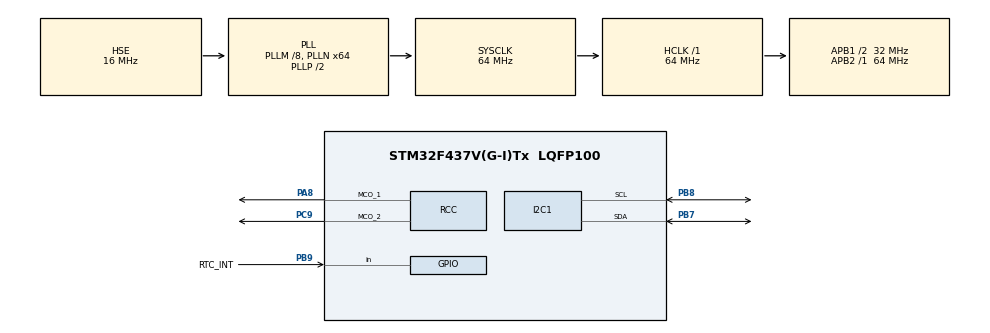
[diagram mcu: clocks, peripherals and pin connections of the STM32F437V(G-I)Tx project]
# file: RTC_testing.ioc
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Mcu.Family=STM32F4
Mcu.Name=STM32F437V(G-I)Tx
Mcu.Package=LQFP100
NVIC.I2C1_ER_IRQn=true\:0\:0\:false\:false\:true\:true\:true\:true
NVIC.I2C1_EV_IRQn=true\:0\:0\:false\:false\:true\:true\:true\:true
NVIC.PriorityGroup=NVIC_PRIORITYGROUP_4
PA13.Mode=Trace_Asynchronous_SW
PA13.Signal=SYS_JTMS-SWDIO
PA14.Mode=Trace_Asynchronous_SW
PA14.Signal=SYS_JTCK-SWCLK
PA8.Mode=Clock-out-1
PA8.Signal=RCC_MCO_1
PB3.Mode=Trace_Asynchronous_SW
PB3.Signal=SYS_JTDO-SWO
PB7.Mode=I2C
PB7.GPIO_PuPd=GPIO_PULLUP
PB7.Signal=I2C1_SDA
PB8.Mode=I2C
PB8.GPIO_PuPd=GPIO_PULLUP
PB8.Signal=I2C1_SCL
PB9.GPIO_Label=RTC_INT
PB9.Signal=GPIO_Input
PC9.Mode=Clock-out-2
PC9.Signal=RCC_MCO_2
PH0/OSC_IN.Mode=HSE-External-Oscillator
PH0/OSC_IN.Signal=RCC_OSC_IN
PH1/OSC_OUT.Mode=HSE-External-Oscillator
PH1/OSC_OUT.Signal=RCC_OSC_OUT
ProjectManager.HeapSize=0x200
ProjectManager.StackSize=0x400
ProjectManager.TargetToolchain=STM32CubeIDE
RCC.48MHZClocksFreq_Value=32000000
RCC.AHBFreq_Value=64000000
RCC.APB1CLKDivider=RCC_HCLK_DIV2
RCC.APB1Freq_Value=32000000
RCC.APB1TimFreq_Value=64000000
RCC.APB2Freq_Value=64000000
RCC.APB2TimFreq_Value=64000000
RCC.CortexFreq_Value=64000000
RCC.EnbaleCSS=true
RCC.HCLKFreq_Value=64000000
RCC.HSE_VALUE=16000000
RCC.HSI_VALUE=16000000
RCC.LSE_VALUE=32768
RCC.PLLM=8
RCC.PLLN=64
RCC.PLLSourceVirtual=RCC_PLLSOURCE_HSE
RCC.RCC_MCO1Source=RCC_MCO1SOURCE_HSE
RCC.SYSCLKFreq_VALUE=64000000
RCC.SYSCLKSource=RCC_SYSCLKSOURCE_PLLCLK
RCC.VCOOutputFreq_Value=128000000
board=custom

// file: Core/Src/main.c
/* USER CODE BEGIN Header */
/**
  ******************************************************************************
  * @file           : main.c
  * @brief          : Main program body
  ******************************************************************************
  * @attention
  *
  * Copyright (c) 2026 STMicroelectronics.
  * All rights reserved.
  *
  * This software is licensed under terms that can be found in the LICENSE file
  * in the root directory of this software component.
  * If no LICENSE file comes with this software, it is provided AS-IS.
  *
  ******************************************************************************
  */
/* USER CODE END Header */
#include "main.h"

/* USER CODE BEGIN Includes */
#include <stdio.h>

/* USER CODE END Includes */

/* USER CODE BEGIN PTD */

typedef struct
{
  uint8_t connected;
  uint8_t rtc_mode;
  uint8_t oscillator_stop_flag;
  uint8_t counter_stopped;
  uint8_t hundredths;
  uint8_t seconds;
  uint8_t minutes;
  uint8_t hours;
  uint8_t day;
  uint8_t weekday;
  uint8_t month;
  uint16_t year;
  uint8_t raw_time[8];
  uint8_t raw_oscillator;
  uint8_t raw_function;
  uint8_t raw_stop_enable;
  uint8_t scl_level;
  uint8_t sda_level;
  uint16_t i2c_sr1;
  uint16_t i2c_sr2;
  uint32_t sample_count;
  uint32_t advance_count;
  uint32_t consecutive_failures;
  uint32_t recovery_count;
  uint32_t i2c_error;
  HAL_StatusTypeDef last_hal_status;
} RTC_TestResult;

/* USER CODE END PTD */

/* USER CODE BEGIN PD */

#define PCF85263A_I2C_ADDRESS       (0x51U << 1)
#define PCF85263A_REG_TIME          0x00U
#define PCF85263A_REG_OSCILLATOR    0x25U
#define PCF85263A_REG_FUNCTION      0x28U
#define PCF85263A_REG_STOP_ENABLE   0x2EU
#define PCF85263A_I2C_TIMEOUT_MS    100U
#define RTC_SWV_STATUS_PERIOD_MS    1000U
#define RTC_RECOVERY_FAILURE_COUNT  20U

/* USER CODE END PD */

I2C_HandleTypeDef hi2c1;

/* USER CODE BEGIN PV */

/* Add rtc_test to STM32CubeIDE Live Expressions while debugging. */
volatile RTC_TestResult rtc_test;
static uint32_t rtc_swv_last_print_ms;

/* USER CODE END PV */

void SystemClock_Config(void);
static void MX_GPIO_Init(void);
static void MX_I2C1_Init(void);
/* USER CODE BEGIN PFP */

static uint8_t RTC_BcdToBinary(uint8_t value);
static void RTC_RecordI2CState(HAL_StatusTypeDef status);
static void RTC_I2CRecoverBus(void);
static void RTC_TestUpdate(void);
static void RTC_SWVPrintStatus(void);
static void SWV_SendChar(char ch);

/* USER CODE END PFP */

/* USER CODE BEGIN 0 */

static void SWV_SendChar(char ch)
{
  uint32_t timeout;

  /* Never block the firmware when SWV/ITM is not enabled by the debugger. */
  if (((CoreDebug->DEMCR & CoreDebug_DEMCR_TRCENA_Msk) == 0U) ||
      ((ITM->TCR & ITM_TCR_ITMENA_Msk) == 0U) ||
      ((ITM->TER & 1UL) == 0U))
  {
    return;
  }

  timeout = 10000U;
  while ((ITM->PORT[0].u32 == 0UL) && (timeout > 0U))
  {
    timeout--;
  }

  if (timeout > 0U)
  {
    ITM->PORT[0].u8 = (uint8_t)ch;
  }
}

int _write(int file, char *ptr, int len)
{
  int index;

  (void)file;
  for (index = 0; index < len; index++)
  {
    SWV_SendChar(ptr[index]);
  }

  return len;
}

static uint8_t RTC_BcdToBinary(uint8_t value)
{
  return (uint8_t)(((value >> 4) * 10U) + (value & 0x0FU));
}

static void RTC_RecordI2CState(HAL_StatusTypeDef status)
{
  rtc_test.last_hal_status = status;
  rtc_test.i2c_error = HAL_I2C_GetError(&hi2c1);
  rtc_test.i2c_sr1 = (uint16_t)hi2c1.Instance->SR1;
  rtc_test.i2c_sr2 = (uint16_t)hi2c1.Instance->SR2;
  rtc_test.scl_level = (HAL_GPIO_ReadPin(GPIOB, GPIO_PIN_8) == GPIO_PIN_SET) ? 1U : 0U;
  rtc_test.sda_level = (HAL_GPIO_ReadPin(GPIOB, GPIO_PIN_7) == GPIO_PIN_SET) ? 1U : 0U;
}

static void RTC_I2CRecoverBus(void)
{
  GPIO_InitTypeDef GPIO_InitStruct = {0};
  uint32_t pulse;

  rtc_test.recovery_count++;
  (void)HAL_I2C_DeInit(&hi2c1);

  __HAL_RCC_GPIOB_CLK_ENABLE();
  HAL_GPIO_WritePin(GPIOB, GPIO_PIN_7 | GPIO_PIN_8, GPIO_PIN_SET);
  GPIO_InitStruct.Pin = GPIO_PIN_7 | GPIO_PIN_8;
  GPIO_InitStruct.Mode = GPIO_MODE_OUTPUT_OD;
  GPIO_InitStruct.Pull = GPIO_PULLUP;
  GPIO_InitStruct.Speed = GPIO_SPEED_FREQ_LOW;
  HAL_GPIO_Init(GPIOB, &GPIO_InitStruct);
  HAL_Delay(1U);

  /* Release a target that stopped part-way through a byte. */
  for (pulse = 0U; pulse < 9U; pulse++)
  {
    if (HAL_GPIO_ReadPin(GPIOB, GPIO_PIN_7) == GPIO_PIN_SET)
    {
      break;
    }
    HAL_GPIO_WritePin(GPIOB, GPIO_PIN_8, GPIO_PIN_RESET);
    HAL_Delay(1U);
    HAL_GPIO_WritePin(GPIOB, GPIO_PIN_8, GPIO_PIN_SET);
    HAL_Delay(1U);
  }

  /* Generate a manual STOP: SDA low, SCL high, then SDA high. */
  HAL_GPIO_WritePin(GPIOB, GPIO_PIN_7, GPIO_PIN_RESET);
  HAL_Delay(1U);
  HAL_GPIO_WritePin(GPIOB, GPIO_PIN_8, GPIO_PIN_SET);
  HAL_Delay(1U);
  HAL_GPIO_WritePin(GPIOB, GPIO_PIN_7, GPIO_PIN_SET);
  HAL_Delay(1U);

  MX_I2C1_Init();
  rtc_test.consecutive_failures = 0U;
  RTC_RecordI2CState(HAL_OK);
}

static void RTC_TestUpdate(void)
{
  uint8_t time_raw[8];
  uint8_t oscillator;
  uint8_t function;
  uint8_t stop_enable;
  uint16_t previous_time;
  uint16_t current_time;
  HAL_StatusTypeDef status;

  rtc_test.sample_count++;

  status = HAL_I2C_IsDeviceReady(&hi2c1, PCF85263A_I2C_ADDRESS, 2U,
                                 PCF85263A_I2C_TIMEOUT_MS);
  if (status != HAL_OK)
  {
    rtc_test.connected = 0U;
    rtc_test.consecutive_failures++;
    RTC_RecordI2CState(status);
    return;
  }

  status = HAL_I2C_Mem_Read(&hi2c1, PCF85263A_I2C_ADDRESS,
                            PCF85263A_REG_TIME, I2C_MEMADD_SIZE_8BIT,
                            time_raw, sizeof(time_raw),
                            PCF85263A_I2C_TIMEOUT_MS);
  if (status == HAL_OK)
  {
    status = HAL_I2C_Mem_Read(&hi2c1, PCF85263A_I2C_ADDRESS,
                              PCF85263A_REG_OSCILLATOR,
                              I2C_MEMADD_SIZE_8BIT, &oscillator, 1U,
                              PCF85263A_I2C_TIMEOUT_MS);
  }
  if (status == HAL_OK)
  {
    status = HAL_I2C_Mem_Read(&hi2c1, PCF85263A_I2C_ADDRESS,
                              PCF85263A_REG_FUNCTION,
                              I2C_MEMADD_SIZE_8BIT, &function, 1U,
                              PCF85263A_I2C_TIMEOUT_MS);
  }
  if (status == HAL_OK)
  {
    status = HAL_I2C_Mem_Read(&hi2c1, PCF85263A_I2C_ADDRESS,
                              PCF85263A_REG_STOP_ENABLE,
                              I2C_MEMADD_SIZE_8BIT, &stop_enable, 1U,
                              PCF85263A_I2C_TIMEOUT_MS);
  }

  RTC_RecordI2CState(status);
  if (status != HAL_OK)
  {
    rtc_test.connected = 0U;
    rtc_test.consecutive_failures++;
    return;
  }

  previous_time = (uint16_t)(((uint16_t)rtc_test.raw_time[1] << 8) |
                             rtc_test.raw_time[0]);
  current_time = (uint16_t)(((uint16_t)time_raw[1] << 8) | time_raw[0]);
  if ((rtc_test.connected != 0U) && (current_time != previous_time))
  {
    rtc_test.advance_count++;
  }

  rtc_test.connected = 1U;
  rtc_test.consecutive_failures = 0U;
  rtc_test.raw_oscillator = oscillator;
  rtc_test.raw_function = function;
  rtc_test.raw_stop_enable = stop_enable;
  rtc_test.rtc_mode = ((function & 0x10U) == 0U) ? 1U : 0U;
  rtc_test.oscillator_stop_flag = ((time_raw[1] & 0x80U) != 0U) ? 1U : 0U;
  rtc_test.counter_stopped = stop_enable & 0x01U;

  rtc_test.hundredths = RTC_BcdToBinary(time_raw[0]);
  rtc_test.seconds = RTC_BcdToBinary(time_raw[1] & 0x7FU);
  rtc_test.minutes = RTC_BcdToBinary(time_raw[2] & 0x7FU);
  rtc_test.hours = RTC_BcdToBinary(time_raw[3] & 0x3FU);
  rtc_test.day = RTC_BcdToBinary(time_raw[4] & 0x3FU);
  rtc_test.weekday = time_raw[5] & 0x07U;
  rtc_test.month = RTC_BcdToBinary(time_raw[6] & 0x1FU);
  rtc_test.year = (uint16_t)(2000U + RTC_BcdToBinary(time_raw[7]));

  for (uint32_t index = 0U; index < sizeof(time_raw); index++)
  {
    rtc_test.raw_time[index] = time_raw[index];
  }
}

static void RTC_SWVPrintStatus(void)
{
  if (rtc_test.connected == 0U)
  {
    printf("[RTC] NO RESPONSE address=0x51 HAL=%u error=0x%08lX "
           "SCL=%u SDA=%u SR1=0x%04X SR2=0x%04X failures=%lu recoveries=%lu\r\n",
           (unsigned int)rtc_test.last_hal_status,
           (unsigned long)rtc_test.i2c_error,
           (unsigned int)rtc_test.scl_level,
           (unsigned int)rtc_test.sda_level,
           (unsigned int)rtc_test.i2c_sr1,
           (unsigned int)rtc_test.i2c_sr2,
           (unsigned long)rtc_test.consecutive_failures,
           (unsigned long)rtc_test.recovery_count);
    return;
  }

  printf("[RTC] OK %04u-%02u-%02u %02u:%02u:%02u.%02u "
         "weekday=%u advancing=%lu rtc_mode=%u OS_flag=%u stopped=%u\r\n",
         (unsigned int)rtc_test.year,
         (unsigned int)rtc_test.month,
         (unsigned int)rtc_test.day,
         (unsigned int)rtc_test.hours,
         (unsigned int)rtc_test.minutes,
         (unsigned int)rtc_test.seconds,
         (unsigned int)rtc_test.hundredths,
         (unsigned int)rtc_test.weekday,
         (unsigned long)rtc_test.advance_count,
         (unsigned int)rtc_test.rtc_mode,
         (unsigned int)rtc_test.oscillator_stop_flag,
         (unsigned int)rtc_test.counter_stopped);
}

/* USER CODE END 0 */

int main(void)
{

  /* MCU Configuration--------------------------------------------------------*/

  /* Reset of all peripherals, Initializes the Flash interface and the Systick. */
  HAL_Init();

  /* Configure the system clock */
  SystemClock_Config();

  /* Initialize all configured peripherals */
  MX_GPIO_Init();
  MX_I2C1_Init();
  /* USER CODE BEGIN 2 */

  RTC_TestUpdate();
  printf("\r\n[BOOT] PCF85263A I2C/SWV test; address=0x51; "
         "core clock=%lu Hz\r\n", (unsigned long)SystemCoreClock);
  RTC_SWVPrintStatus();
  rtc_swv_last_print_ms = HAL_GetTick();

  /* USER CODE END 2 */

  /* Infinite loop */
  while (1)
  {

    /* USER CODE BEGIN 3 */
    RTC_TestUpdate();
    if ((rtc_test.connected == 0U) &&
        (rtc_test.consecutive_failures >= RTC_RECOVERY_FAILURE_COUNT))
    {
      printf("[RTC] Attempting I2C bus recovery...\r\n");
      RTC_I2CRecoverBus();
      RTC_TestUpdate();
    }
    if ((HAL_GetTick() - rtc_swv_last_print_ms) >= RTC_SWV_STATUS_PERIOD_MS)
    {
      rtc_swv_last_print_ms = HAL_GetTick();
      RTC_SWVPrintStatus();
    }
    HAL_Delay(250U);
  }
  /* USER CODE END 3 */
}

void SystemClock_Config(void)
{
  RCC_OscInitTypeDef RCC_OscInitStruct = {0};
  RCC_ClkInitTypeDef RCC_ClkInitStruct = {0};

  /** Configure the main internal regulator output voltage
  */
  __HAL_RCC_PWR_CLK_ENABLE();
  __HAL_PWR_VOLTAGESCALING_CONFIG(PWR_REGULATOR_VOLTAGE_SCALE3);

  /** Initializes the RCC Oscillators according to the specified parameters
  * in the RCC_OscInitTypeDef structure.
  */
  RCC_OscInitStruct.OscillatorType = RCC_OSCILLATORTYPE_HSE;
  RCC_OscInitStruct.HSEState = RCC_HSE_ON;
  RCC_OscInitStruct.PLL.PLLState = RCC_PLL_ON;
  RCC_OscInitStruct.PLL.PLLSource = RCC_PLLSOURCE_HSE;
  RCC_OscInitStruct.PLL.PLLM = 8;
  RCC_OscInitStruct.PLL.PLLN = 64;
  RCC_OscInitStruct.PLL.PLLP = RCC_PLLP_DIV2;
  RCC_OscInitStruct.PLL.PLLQ = 4;
  if (HAL_RCC_OscConfig(&RCC_OscInitStruct) != HAL_OK)
  {
    Error_Handler();
  }

  /** Initializes the CPU, AHB and APB buses clocks
  */
  RCC_ClkInitStruct.ClockType = RCC_CLOCKTYPE_HCLK|RCC_CLOCKTYPE_SYSCLK
                              |RCC_CLOCKTYPE_PCLK1|RCC_CLOCKTYPE_PCLK2;
  RCC_ClkInitStruct.SYSCLKSource = RCC_SYSCLKSOURCE_PLLCLK;
  RCC_ClkInitStruct.AHBCLKDivider = RCC_SYSCLK_DIV1;
  RCC_ClkInitStruct.APB1CLKDivider = RCC_HCLK_DIV2;
  RCC_ClkInitStruct.APB2CLKDivider = RCC_HCLK_DIV1;

  if (HAL_RCC_ClockConfig(&RCC_ClkInitStruct, FLASH_LATENCY_2) != HAL_OK)
  {
    Error_Handler();
  }
  HAL_RCC_MCOConfig(RCC_MCO1, RCC_MCO1SOURCE_HSE, RCC_MCODIV_1);
  HAL_RCC_MCOConfig(RCC_MCO2, RCC_MCO2SOURCE_SYSCLK, RCC_MCODIV_1);

  /** Enables the Clock Security System
  */
  HAL_RCC_EnableCSS();
}

static void MX_I2C1_Init(void)
{

  hi2c1.Instance = I2C1;
  hi2c1.Init.ClockSpeed = 100000;
  hi2c1.Init.DutyCycle = I2C_DUTYCYCLE_2;
  hi2c1.Init.OwnAddress1 = 0;
  hi2c1.Init.AddressingMode = I2C_ADDRESSINGMODE_7BIT;
  hi2c1.Init.DualAddressMode = I2C_DUALADDRESS_DISABLE;
  hi2c1.Init.OwnAddress2 = 0;
  hi2c1.Init.GeneralCallMode = I2C_GENERALCALL_DISABLE;
  hi2c1.Init.NoStretchMode = I2C_NOSTRETCH_DISABLE;
  if (HAL_I2C_Init(&hi2c1) != HAL_OK)
  {
    Error_Handler();
  }

  /** Configure Analogue filter
  */
  if (HAL_I2CEx_ConfigAnalogFilter(&hi2c1, I2C_ANALOGFILTER_ENABLE) != HAL_OK)
  {
    Error_Handler();
  }

  /** Configure Digital filter
  */
  if (HAL_I2CEx_ConfigDigitalFilter(&hi2c1, 0) != HAL_OK)
  {
    Error_Handler();
  }

}

static void MX_GPIO_Init(void)
{
  GPIO_InitTypeDef GPIO_InitStruct = {0};

  /* GPIO Ports Clock Enable */
  __HAL_RCC_GPIOH_CLK_ENABLE();
  __HAL_RCC_GPIOC_CLK_ENABLE();
  __HAL_RCC_GPIOA_CLK_ENABLE();
  __HAL_RCC_GPIOB_CLK_ENABLE();

  /*Configure GPIO pin : PC9 */
  GPIO_InitStruct.Pin = GPIO_PIN_9;
  GPIO_InitStruct.Mode = GPIO_MODE_AF_PP;
  GPIO_InitStruct.Pull = GPIO_NOPULL;
  GPIO_InitStruct.Speed = GPIO_SPEED_FREQ_LOW;
  GPIO_InitStruct.Alternate = GPIO_AF0_MCO;
  HAL_GPIO_Init(GPIOC, &GPIO_InitStruct);

  /*Configure GPIO pin : PA8 */
  GPIO_InitStruct.Pin = GPIO_PIN_8;
  GPIO_InitStruct.Mode = GPIO_MODE_AF_PP;
  GPIO_InitStruct.Pull = GPIO_NOPULL;
  GPIO_InitStruct.Speed = GPIO_SPEED_FREQ_LOW;
  GPIO_InitStruct.Alternate = GPIO_AF0_MCO;
  HAL_GPIO_Init(GPIOA, &GPIO_InitStruct);

  /*Configure GPIO pin : RTC_INT_Pin */
  GPIO_InitStruct.Pin = RTC_INT_Pin;
  GPIO_InitStruct.Mode = GPIO_MODE_INPUT;
  GPIO_InitStruct.Pull = GPIO_NOPULL;
  GPIO_InitStruct.Speed = GPIO_SPEED_FREQ_LOW;
  HAL_GPIO_Init(RTC_INT_GPIO_Port, &GPIO_InitStruct);

}

void Error_Handler(void)
{
  __disable_irq();
  while (1)
  {
  }
}
